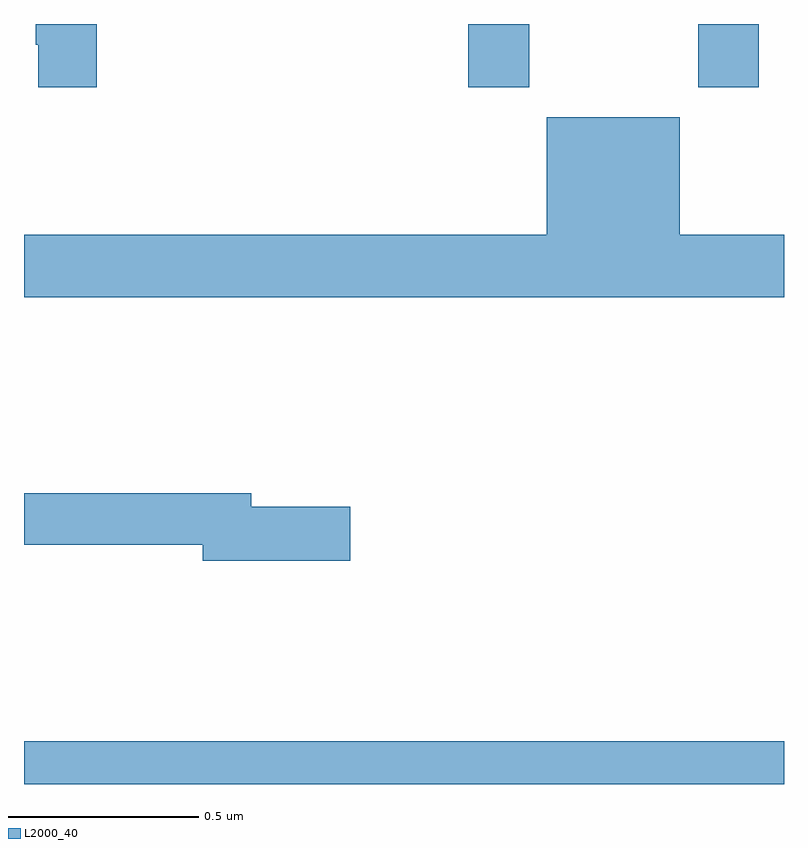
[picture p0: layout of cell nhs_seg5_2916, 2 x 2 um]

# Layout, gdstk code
import gdstk
lib = gdstk.Library(unit=1e-6, precision=1e-09)
def R(c, l, rs):  # rectangles x0, y0, x1, y1
    for r in rs: c.add(gdstk.rectangle(r[:2], r[2:], *l))
def P(c, l, *ps):  # polygons
    for p in ps: c.add(gdstk.Polygon(p, *l))
L2000_40 = (2000, 40)

nhs_seg5_2916 = lib.new_cell('nhs_seg5_2916')
R(nhs_seg5_2916, L2000_40, [(150,868.799,152,868.912), (151.169,870.633,151.329,870.799), (151.774,870.633,151.934,870.799)])
P(nhs_seg5_2916, L2000_40, [(150.191,870.799),(150.031,870.799),(150.031,870.745),(150.037,870.745),(150.037,870.633),(150.191,870.633)],
  [(152,870.244),(151.726,870.244),(151.726,870.553),(151.376,870.553),(151.376,870.244),(150,870.244),(150,870.08),(152,870.08)],
  [(150.859,869.528),(150.598,869.528),(150.598,869.564),(150,869.564),(150,869.428),(150.47,869.428),(150.47,869.386),(150.859,869.386)])

lib.write_gds('nhs_seg5_2916.gds')
